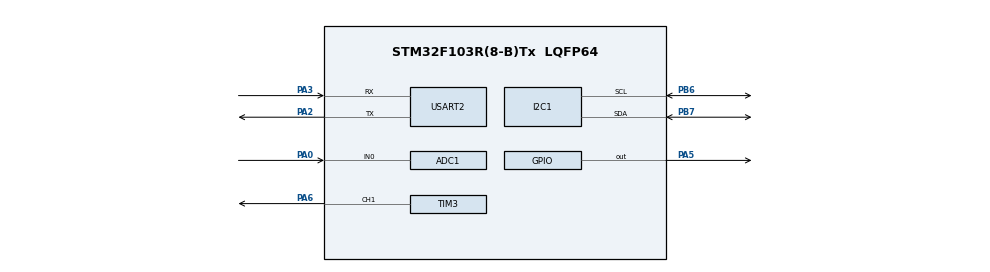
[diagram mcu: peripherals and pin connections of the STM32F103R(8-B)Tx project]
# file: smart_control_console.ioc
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ADC1.NbrOfConversionFlag=1
ADC1.SamplingTime-0\#ChannelRegularConversion=ADC_SAMPLETIME_55CYCLES_5
ADC1.master=1
Mcu.Family=STM32F1
Mcu.Name=STM32F103R(8-B)Tx
Mcu.Package=LQFP64
NVIC.PriorityGroup=NVIC_PRIORITYGROUP_4
PA0-WKUP.Signal=ADCx_IN0
PA2.Mode=Asynchronous
PA2.Signal=USART2_TX
PA3.Mode=Asynchronous
PA3.Signal=USART2_RX
PA5.Signal=GPIO_Output
PA6.Signal=S_TIM3_CH1
PB6.Mode=I2C
PB6.Signal=I2C1_SCL
PB7.Mode=I2C
PB7.Signal=I2C1_SDA
ProjectManager.HeapSize=0x200
ProjectManager.StackSize=0x400
ProjectManager.TargetToolchain=STM32CubeIDE
RCC.APB1Freq_Value=8000000
RCC.APB2Freq_Value=8000000
SH.ADCx_IN0.0=ADC1_IN0,IN0
SH.S_TIM3_CH1.0=TIM3_CH1,PWM Generation1 CH1
TIM3.Channel-PWM\ Generation1\ CH1=TIM_CHANNEL_1
TIM3.Period=999
TIM3.Prescaler=71
USART2.VirtualMode=VM_ASYNC
VP_SYS_VS_ND.Mode=No_Debug
board=custom

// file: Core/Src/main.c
/* USER CODE BEGIN Header */
/**
  ******************************************************************************
  * @file           : main.c
  * @brief          : Main program body
  * @version        : V0.2
  ******************************************************************************
  * @attention
  *
  * Copyright (c) 2026 STMicroelectronics.
  * All rights reserved.
  *
  * This software is licensed under terms that can be found in the LICENSE file
  * in the root directory of this software component.
  * If no LICENSE file comes with this software, it is provided AS-IS.
  *
  ******************************************************************************
  */
/* USER CODE END Header */
#include "main.h"

/* USER CODE BEGIN Includes */
#include <stdio.h>
#include "adc_app.h"
#include "pwm_app.h"
#include "display_app.h"
/* USER CODE END Includes */

/* USER CODE BEGIN PD */
#define UPDATE_INTERVAL_MS    100    // Display update interval
/* USER CODE END PD */

ADC_HandleTypeDef hadc1;

I2C_HandleTypeDef hi2c1;

TIM_HandleTypeDef htim3;

UART_HandleTypeDef huart2;

void SystemClock_Config(void);
static void MX_GPIO_Init(void);
static void MX_USART2_UART_Init(void);
static void MX_ADC1_Init(void);
static void MX_TIM3_Init(void);
static void MX_I2C1_Init(void);

/* USER CODE BEGIN 0 */
/**
  * @brief  Redirect printf to UART
  * @param  ch: Character to send
  * @retval Character sent
  */
int __io_putchar(int ch)
{
    HAL_UART_Transmit(&huart2, (uint8_t *)&ch, 1, HAL_MAX_DELAY);
    return ch;
}
/* USER CODE END 0 */

int main(void)
{

  /* MCU Configuration--------------------------------------------------------*/

  /* Reset of all peripherals, Initializes the Flash interface and the Systick. */
  HAL_Init();

  /* Configure the system clock */
  SystemClock_Config();

  /* Initialize all configured peripherals */
  MX_GPIO_Init();
  MX_USART2_UART_Init();
  MX_ADC1_Init();
  MX_TIM3_Init();
  MX_I2C1_Init();
  /* USER CODE BEGIN 2 */
  /* Application initialization */

  printf("\r\n");
  printf("========================================\r\n");
  printf("  Smart Control Console V0.2\r\n");
  printf("  Modular Embedded System Architecture\r\n");
  printf("========================================\r\n");
  printf("Initializing modules...\r\n");

  // Initialize application modules
  ADC_App_Init(&hadc1);
  printf("[OK] ADC module initialized\r\n");

  PWM_App_Init(&htim3, TIM_CHANNEL_1);
  PWM_App_Start();
  printf("[OK] PWM module initialized\r\n");

  Display_App_Init();
  printf("[OK] Display module initialized\r\n");

  printf("System ready!\r\n");
  printf("========================================\r\n\r\n");

  HAL_Delay(1000);

  /* USER CODE END 2 */

  /* Infinite loop */
  while (1)
  {

    /* USER CODE BEGIN 3 */

    // Read sensor data
    uint32_t adc_raw = ADC_App_ReadRaw();
    uint32_t voltage_mv = ADC_App_ReadMV();
    uint32_t percent = ADC_App_ReadPercent();

    // Update PWM output
    PWM_App_SetDuty(percent);

    // Update display
    Display_App_Update(adc_raw, voltage_mv, percent);

    // Optional: UART debug output
    printf("ADC:%lu V:%lumV PWM:%lu%%\r\n", adc_raw, voltage_mv, percent);

    // Control loop timing
    HAL_Delay(UPDATE_INTERVAL_MS);
  }
  /* USER CODE END 3 */
}

void SystemClock_Config(void)
{
  RCC_OscInitTypeDef RCC_OscInitStruct = {0};
  RCC_ClkInitTypeDef RCC_ClkInitStruct = {0};
  RCC_PeriphCLKInitTypeDef PeriphClkInit = {0};

  /** Initializes the RCC Oscillators according to the specified parameters
  * in the RCC_OscInitTypeDef structure.
  */
  RCC_OscInitStruct.OscillatorType = RCC_OSCILLATORTYPE_HSI;
  RCC_OscInitStruct.HSIState = RCC_HSI_ON;
  RCC_OscInitStruct.HSICalibrationValue = RCC_HSICALIBRATION_DEFAULT;
  RCC_OscInitStruct.PLL.PLLState = RCC_PLL_NONE;
  if (HAL_RCC_OscConfig(&RCC_OscInitStruct) != HAL_OK)
  {
    Error_Handler();
  }

  /** Initializes the CPU, AHB and APB buses clocks
  */
  RCC_ClkInitStruct.ClockType = RCC_CLOCKTYPE_HCLK|RCC_CLOCKTYPE_SYSCLK
                              |RCC_CLOCKTYPE_PCLK1|RCC_CLOCKTYPE_PCLK2;
  RCC_ClkInitStruct.SYSCLKSource = RCC_SYSCLKSOURCE_HSI;
  RCC_ClkInitStruct.AHBCLKDivider = RCC_SYSCLK_DIV1;
  RCC_ClkInitStruct.APB1CLKDivider = RCC_HCLK_DIV1;
  RCC_ClkInitStruct.APB2CLKDivider = RCC_HCLK_DIV1;

  if (HAL_RCC_ClockConfig(&RCC_ClkInitStruct, FLASH_LATENCY_0) != HAL_OK)
  {
    Error_Handler();
  }
  PeriphClkInit.PeriphClockSelection = RCC_PERIPHCLK_ADC;
  PeriphClkInit.AdcClockSelection = RCC_ADCPCLK2_DIV2;
  if (HAL_RCCEx_PeriphCLKConfig(&PeriphClkInit) != HAL_OK)
  {
    Error_Handler();
  }
}

static void MX_ADC1_Init(void)
{

  ADC_ChannelConfTypeDef sConfig = {0};

  /** Common config
  */
  hadc1.Instance = ADC1;
  hadc1.Init.ScanConvMode = ADC_SCAN_DISABLE;
  hadc1.Init.ContinuousConvMode = DISABLE;
  hadc1.Init.DiscontinuousConvMode = DISABLE;
  hadc1.Init.ExternalTrigConv = ADC_SOFTWARE_START;
  hadc1.Init.DataAlign = ADC_DATAALIGN_RIGHT;
  hadc1.Init.NbrOfConversion = 1;
  if (HAL_ADC_Init(&hadc1) != HAL_OK)
  {
    Error_Handler();
  }

  /** Configure Regular Channel
  */
  sConfig.Channel = ADC_CHANNEL_0;
  sConfig.Rank = ADC_REGULAR_RANK_1;
  sConfig.SamplingTime = ADC_SAMPLETIME_55CYCLES_5;
  if (HAL_ADC_ConfigChannel(&hadc1, &sConfig) != HAL_OK)
  {
    Error_Handler();
  }

}

static void MX_I2C1_Init(void)
{

  hi2c1.Instance = I2C1;
  hi2c1.Init.ClockSpeed = 100000;
  hi2c1.Init.DutyCycle = I2C_DUTYCYCLE_2;
  hi2c1.Init.OwnAddress1 = 0;
  hi2c1.Init.AddressingMode = I2C_ADDRESSINGMODE_7BIT;
  hi2c1.Init.DualAddressMode = I2C_DUALADDRESS_DISABLE;
  hi2c1.Init.OwnAddress2 = 0;
  hi2c1.Init.GeneralCallMode = I2C_GENERALCALL_DISABLE;
  hi2c1.Init.NoStretchMode = I2C_NOSTRETCH_DISABLE;
  if (HAL_I2C_Init(&hi2c1) != HAL_OK)
  {
    Error_Handler();
  }

}

static void MX_TIM3_Init(void)
{

  TIM_MasterConfigTypeDef sMasterConfig = {0};
  TIM_OC_InitTypeDef sConfigOC = {0};

  htim3.Instance = TIM3;
  htim3.Init.Prescaler = 71;
  htim3.Init.CounterMode = TIM_COUNTERMODE_UP;
  htim3.Init.Period = 999;
  htim3.Init.ClockDivision = TIM_CLOCKDIVISION_DIV1;
  htim3.Init.AutoReloadPreload = TIM_AUTORELOAD_PRELOAD_DISABLE;
  if (HAL_TIM_PWM_Init(&htim3) != HAL_OK)
  {
    Error_Handler();
  }
  sMasterConfig.MasterOutputTrigger = TIM_TRGO_RESET;
  sMasterConfig.MasterSlaveMode = TIM_MASTERSLAVEMODE_DISABLE;
  if (HAL_TIMEx_MasterConfigSynchronization(&htim3, &sMasterConfig) != HAL_OK)
  {
    Error_Handler();
  }
  sConfigOC.OCMode = TIM_OCMODE_PWM1;
  sConfigOC.Pulse = 0;
  sConfigOC.OCPolarity = TIM_OCPOLARITY_HIGH;
  sConfigOC.OCFastMode = TIM_OCFAST_DISABLE;
  if (HAL_TIM_PWM_ConfigChannel(&htim3, &sConfigOC, TIM_CHANNEL_1) != HAL_OK)
  {
    Error_Handler();
  }
  HAL_TIM_MspPostInit(&htim3);

}

static void MX_USART2_UART_Init(void)
{

  huart2.Instance = USART2;
  huart2.Init.BaudRate = 115200;
  huart2.Init.WordLength = UART_WORDLENGTH_8B;
  huart2.Init.StopBits = UART_STOPBITS_1;
  huart2.Init.Parity = UART_PARITY_NONE;
  huart2.Init.Mode = UART_MODE_TX_RX;
  huart2.Init.HwFlowCtl = UART_HWCONTROL_NONE;
  huart2.Init.OverSampling = UART_OVERSAMPLING_16;
  if (HAL_UART_Init(&huart2) != HAL_OK)
  {
    Error_Handler();
  }

}

static void MX_GPIO_Init(void)
{
  GPIO_InitTypeDef GPIO_InitStruct = {0};

  /* GPIO Ports Clock Enable */
  __HAL_RCC_GPIOA_CLK_ENABLE();
  __HAL_RCC_GPIOB_CLK_ENABLE();

  /*Configure GPIO pin Output Level */
  HAL_GPIO_WritePin(GPIOA, GPIO_PIN_5, GPIO_PIN_RESET);

  /*Configure GPIO pin : PA5 */
  GPIO_InitStruct.Pin = GPIO_PIN_5;
  GPIO_InitStruct.Mode = GPIO_MODE_OUTPUT_PP;
  GPIO_InitStruct.Pull = GPIO_NOPULL;
  GPIO_InitStruct.Speed = GPIO_SPEED_FREQ_LOW;
  HAL_GPIO_Init(GPIOA, &GPIO_InitStruct);

}

void Error_Handler(void)
{
  __disable_irq();
  while (1)
  {
  }
}
